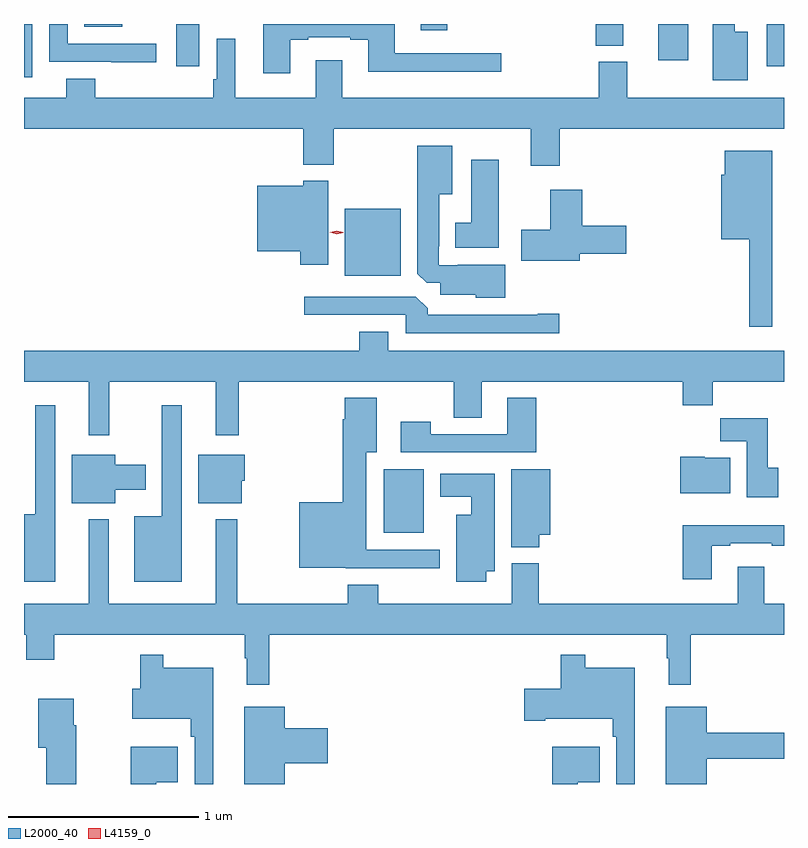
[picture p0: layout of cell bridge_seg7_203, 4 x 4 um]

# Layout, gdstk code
import gdstk
lib = gdstk.Library(unit=1e-6, precision=1e-09)
def R(c, l, rs):  # rectangles x0, y0, x1, y1
    for r in rs: c.add(gdstk.rectangle(r[:2], r[2:], *l))
def P(c, l, *ps):  # polygons
    for p in ps: c.add(gdstk.Polygon(p, *l))
L2000_40 = (2000, 40)
L4159_0 = (4159, 0)

bridge_seg7_203 = lib.new_cell('bridge_seg7_203')
R(bridge_seg7_203, L2000_40, [(133.82,1013.141,134.032,1013.476), (133.616,1014.494,133.909,1014.847), (131.927,1015.539,131.971,1015.819), (132.728,1015.596,132.85,1015.819), (135.836,1015.596,135.927,1015.819), (135.266,1015.629,135.424,1015.819), (134.936,1015.705,135.082,1015.819), (134.015,1015.785,134.155,1015.819), (132.245,1015.805,132.445,1015.819)])
P(bridge_seg7_203, L2000_40, [(132.622,1015.716),(132.156,1015.716),(132.156,1015.819),(132.06,1015.819),(132.06,1015.62),(132.385,1015.62),(132.385,1015.619),(132.622,1015.619)],
  [(133.327,1015.737),(133.423,1015.737),(133.423,1015.749),(133.643,1015.749),(133.643,1015.737),(133.739,1015.737),(133.739,1015.568),(134.44,1015.568),(134.44,1015.665),(133.879,1015.665),(133.879,1015.819),(133.187,1015.819),(133.187,1015.56),(133.327,1015.56)],
  [(135.736,1015.777),(135.667,1015.777),(135.667,1015.819),(135.551,1015.819),(135.551,1015.523),(135.736,1015.523)],
  [(134.747,1015.268),(135.927,1015.268),(135.927,1015.432),(135.103,1015.432),(135.103,1015.62),(134.951,1015.62),(134.951,1015.432),(133.603,1015.432),(133.603,1015.627),(133.463,1015.627),(133.463,1015.432),(133.039,1015.432),(133.039,1015.741),(132.942,1015.741),(132.942,1015.528),(132.922,1015.528),(132.922,1015.432),(132.302,1015.432),(132.302,1015.531),(132.149,1015.531),(132.149,1015.432),(131.927,1015.432),(131.927,1015.268),(133.397,1015.268),(133.397,1015.079),(133.557,1015.079),(133.557,1015.268),(134.594,1015.268),(134.594,1015.074),(134.747,1015.074)],
  [(134.461,1014.553),(134.209,1014.553),(134.209,1014.549),(134.109,1014.549),(134.109,1014.649),(134.113,1014.649),(134.113,1014.923),(134.182,1014.923),(134.182,1015.177),(133.997,1015.177),(133.997,1014.505),(134.046,1014.456),(134.117,1014.456),(134.117,1014.395),(134.304,1014.395),(134.304,1014.377),(134.461,1014.377)],
  [(135.865,1015.153),(135.614,1015.153),(135.614,1015.026),(135.596,1015.026),(135.596,1014.686),(135.744,1014.686),(135.744,1014.225),(135.865,1014.225)],
  [(134.425,1015.105),(134.282,1015.105),(134.282,1014.772),(134.198,1014.772),(134.198,1014.641),(134.425,1014.641)],
  [(133.528,1014.994),(133.398,1014.994),(133.398,1014.967),(133.154,1014.967),(133.154,1014.623),(133.382,1014.623),(133.382,1014.552),(133.528,1014.552)],
  [(134.851,1014.611),(135.097,1014.611),(135.097,1014.758),(134.864,1014.758),(134.864,1014.946),(134.696,1014.946),(134.696,1014.735),(134.544,1014.735),(134.544,1014.572),(134.851,1014.572)],
  [(134.743,1014.293),(134.63,1014.293),(134.63,1014.288),(134.051,1014.288),(134.051,1014.322),(133.989,1014.384),(133.401,1014.384),(133.401,1014.288),(133.935,1014.288),(133.935,1014.192),(134.743,1014.192)],
  [(132.376,1013.936),(132.935,1013.936),(132.935,1013.655),(133.057,1013.655),(133.057,1013.936),(134.188,1013.936),(134.188,1013.746),(134.335,1013.746),(134.335,1013.936),(135.395,1013.936),(135.395,1013.812),(135.551,1013.812),(135.551,1013.936),(135.927,1013.936),(135.927,1014.1),(133.843,1014.1),(133.843,1014.199),(133.691,1014.199),(133.691,1014.1),(131.927,1014.1),(131.927,1013.936),(132.269,1013.936),(132.269,1013.655),(132.376,1013.655)],
  [(134.116,1013.052),(133.729,1013.052),(133.729,1013.564),(133.783,1013.564),(133.783,1013.851),(133.616,1013.851),(133.616,1013.738),(133.604,1013.738),(133.604,1013.302),(133.376,1013.302),(133.376,1012.956),(133.62,1012.956),(133.62,1012.955),(134.116,1012.955)],
  [(134.624,1013.851),(134.471,1013.851),(134.471,1013.661),(134.067,1013.661),(134.067,1013.725),(133.911,1013.725),(133.911,1013.565),(134.624,1013.565)],
  [(132.091,1013.812),(131.987,1013.812),(131.987,1013.239),(131.927,1013.239),(131.927,1012.883),(132.091,1012.883)],
  [(132.757,1013.812),(132.651,1013.812),(132.651,1013.587),(132.653,1013.587),(132.653,1013.227),(132.506,1013.227),(132.506,1012.883),(132.757,1012.883)],
  [(135.898,1013.484),(135.841,1013.484),(135.841,1013.743),(135.592,1013.743),(135.592,1013.624),(135.731,1013.624),(135.731,1013.328),(135.898,1013.328)],
  [(133.072,1013.415),(133.09,1013.415),(133.09,1013.551),(132.845,1013.551),(132.845,1013.297),(133.072,1013.297)],
  [(132.406,1013.369),(132.568,1013.369),(132.568,1013.499),(132.406,1013.499),(132.406,1013.551),(132.179,1013.551),(132.179,1013.297),(132.406,1013.297)],
  [(135.643,1013.536),(135.51,1013.536),(135.51,1013.542),(135.38,1013.542),(135.38,1013.348),(135.643,1013.348)],
  [(134.639,1013.132),(134.698,1013.132),(134.698,1013.476),(134.492,1013.476),(134.492,1013.065),(134.639,1013.065)],
  [(134.359,1012.94),(134.404,1012.94),(134.404,1013.452),(134.117,1013.452),(134.117,1013.33),(134.282,1013.33),(134.282,1013.236),(134.201,1013.236),(134.201,1012.884),(134.359,1012.884)],
  [(133.217,1012.604),(135.309,1012.604),(135.309,1012.481),(135.32,1012.481),(135.32,1012.341),(135.437,1012.341),(135.437,1012.604),(135.927,1012.604),(135.927,1012.768),(135.823,1012.768),(135.823,1012.963),(135.683,1012.963),(135.683,1012.768),(134.636,1012.768),(134.636,1012.98),(134.495,1012.98),(134.495,1012.768),(133.791,1012.768),(133.791,1012.867),(133.631,1012.867),(133.631,1012.768),(133.049,1012.768),(133.049,1013.212),(132.935,1013.212),(132.935,1012.768),(132.373,1012.768),(132.373,1013.212),(132.269,1013.212),(132.269,1012.768),(131.927,1012.768),(131.927,1012.604),(131.94,1012.604),(131.94,1012.473),(132.087,1012.473),(132.087,1012.604),(133.089,1012.604),(133.089,1012.481),(133.1,1012.481),(133.1,1012.341),(133.217,1012.341)],
  [(135.547,1013.073),(135.643,1013.073),(135.643,1013.085),(135.863,1013.085),(135.863,1013.073),(135.927,1013.073),(135.927,1013.182),(135.395,1013.182),(135.395,1012.896),(135.547,1012.896)],
  [(132.922,1012.432),(132.661,1012.432),(132.661,1012.498),(132.54,1012.498),(132.54,1012.321),(132.498,1012.321),(132.498,1012.163),(132.805,1012.163),(132.805,1012.067),(132.825,1012.067),(132.825,1011.819),(132.922,1011.819)],
  [(135.142,1012.432),(134.881,1012.432),(134.881,1012.498),(134.752,1012.498),(134.752,1012.321),(134.559,1012.321),(134.559,1012.151),(134.671,1012.151),(134.671,1012.163),(135.025,1012.163),(135.025,1012.067),(135.045,1012.067),(135.045,1011.819),(135.142,1011.819)],
  [(132.202,1012.128),(132.19,1012.128),(132.19,1012.267),(132.002,1012.267),(132.002,1012.01),(132.044,1012.01),(132.044,1011.819),(132.202,1011.819)],
  [(135.52,1011.952),(135.927,1011.952),(135.927,1012.088),(135.52,1012.088),(135.52,1012.225),(135.305,1012.225),(135.305,1011.819),(135.52,1011.819)],
  [(133.3,1011.929),(133.525,1011.929),(133.525,1012.112),(133.3,1012.112),(133.3,1012.225),(133.085,1012.225),(133.085,1011.819),(133.3,1011.819)],
  [(132.622,1011.827),(132.736,1011.827),(132.736,1012.015),(132.488,1012.015),(132.488,1011.819),(132.622,1011.819)],
  [(134.842,1011.827),(134.956,1011.827),(134.956,1012.015),(134.708,1012.015),(134.708,1011.819),(134.842,1011.819)])
P(bridge_seg7_203, L4159_0, [(133.572,1014.712),(133.535,1014.723),(133.535,1014.723),(133.535,1014.723),(133.572,1014.732),(133.608,1014.722),(133.608,1014.722),(133.608,1014.721)])

lib.write_gds('bridge_seg7_203.gds')
